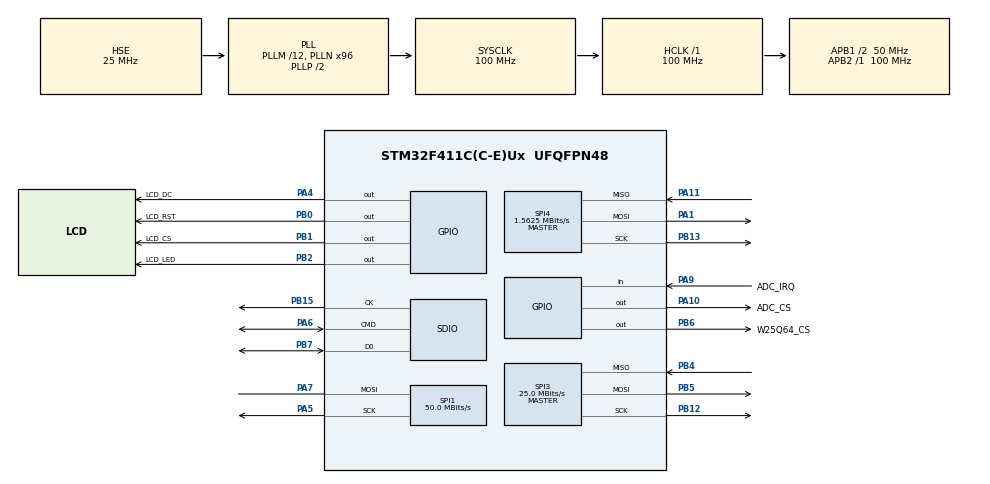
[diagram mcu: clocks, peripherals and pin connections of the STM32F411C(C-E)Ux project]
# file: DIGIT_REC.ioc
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Dma.Request0=SPI1_TX
Dma.Request1=SDIO_RX
Dma.Request2=SDIO_TX
Dma.SDIO_RX.1.Direction=DMA_PERIPH_TO_MEMORY
Dma.SDIO_RX.1.FIFOMode=DMA_FIFOMODE_ENABLE
Dma.SDIO_RX.1.FIFOThreshold=DMA_FIFO_THRESHOLD_FULL
Dma.SDIO_RX.1.Instance=DMA2_Stream3
Dma.SDIO_RX.1.MemBurst=DMA_MBURST_INC4
Dma.SDIO_RX.1.MemDataAlignment=DMA_MDATAALIGN_WORD
Dma.SDIO_RX.1.MemInc=DMA_MINC_ENABLE
Dma.SDIO_RX.1.Mode=DMA_PFCTRL
Dma.SDIO_RX.1.PeriphBurst=DMA_PBURST_INC4
Dma.SDIO_RX.1.PeriphDataAlignment=DMA_PDATAALIGN_WORD
Dma.SDIO_RX.1.PeriphInc=DMA_PINC_DISABLE
Dma.SDIO_RX.1.Priority=DMA_PRIORITY_LOW
Dma.SDIO_TX.2.Direction=DMA_MEMORY_TO_PERIPH
Dma.SDIO_TX.2.FIFOMode=DMA_FIFOMODE_ENABLE
Dma.SDIO_TX.2.FIFOThreshold=DMA_FIFO_THRESHOLD_FULL
Dma.SDIO_TX.2.Instance=DMA2_Stream6
Dma.SDIO_TX.2.MemBurst=DMA_MBURST_INC4
Dma.SDIO_TX.2.MemDataAlignment=DMA_MDATAALIGN_WORD
Dma.SDIO_TX.2.MemInc=DMA_MINC_ENABLE
Dma.SDIO_TX.2.Mode=DMA_PFCTRL
Dma.SDIO_TX.2.PeriphBurst=DMA_PBURST_INC4
Dma.SDIO_TX.2.PeriphDataAlignment=DMA_PDATAALIGN_WORD
Dma.SDIO_TX.2.PeriphInc=DMA_PINC_DISABLE
Dma.SDIO_TX.2.Priority=DMA_PRIORITY_LOW
Dma.SPI1_TX.0.Direction=DMA_MEMORY_TO_PERIPH
Dma.SPI1_TX.0.FIFOMode=DMA_FIFOMODE_DISABLE
Dma.SPI1_TX.0.Instance=DMA2_Stream2
Dma.SPI1_TX.0.MemDataAlignment=DMA_MDATAALIGN_BYTE
Dma.SPI1_TX.0.MemInc=DMA_MINC_ENABLE
Dma.SPI1_TX.0.Mode=DMA_NORMAL
Dma.SPI1_TX.0.PeriphDataAlignment=DMA_PDATAALIGN_BYTE
Dma.SPI1_TX.0.PeriphInc=DMA_PINC_DISABLE
Dma.SPI1_TX.0.Priority=DMA_PRIORITY_LOW
FATFS.USE_DMA_CODE_SD=1
FATFS._MAX_SS=4096
Mcu.Family=STM32F4
Mcu.Name=STM32F411C(C-E)Ux
Mcu.Package=UFQFPN48
NVIC.DMA2_Stream2_IRQn=true\:0\:0\:false\:false\:true\:false\:true\:true
NVIC.DMA2_Stream3_IRQn=true\:0\:0\:false\:false\:true\:false\:true\:true
NVIC.DMA2_Stream6_IRQn=true\:0\:0\:false\:false\:true\:false\:true\:true
NVIC.PriorityGroup=NVIC_PRIORITYGROUP_4
NVIC.SDIO_IRQn=true\:0\:0\:false\:false\:true\:true\:true\:true
PA1.Mode=Full_Duplex_Master
PA1.Signal=SPI4_MOSI
PA10.GPIO_Label=ADC_CS
PA10.Signal=GPIO_Output
PA11.Mode=Full_Duplex_Master
PA11.Signal=SPI4_MISO
PA4.GPIO_Label=LCD_DC
PA4.Signal=GPIO_Output
PA5.Mode=Simplex_Bidirectional_Master
PA5.Signal=SPI1_SCK
PA6.Mode=SD_1_bit
PA6.Signal=SDIO_CMD
PA7.Mode=Simplex_Bidirectional_Master
PA7.Signal=SPI1_MOSI
PA9.GPIO_Label=ADC_IRQ
PA9.Signal=GPIO_Input
PB0.GPIO_Label=LCD_RST
PB0.Signal=GPIO_Output
PB1.GPIO_Label=LCD_CS
PB1.Signal=GPIO_Output
PB12.Mode=Full_Duplex_Master
PB12.Signal=SPI3_SCK
PB13.Mode=Full_Duplex_Master
PB13.Signal=SPI4_SCK
PB15.Mode=SD_1_bit
PB15.Signal=SDIO_CK
PB2.GPIO_Label=LCD_LED
PB2.PinState=GPIO_PIN_SET
PB2.Signal=GPIO_Output
PB4.Mode=Full_Duplex_Master
PB4.Signal=SPI3_MISO
PB5.Mode=Full_Duplex_Master
PB5.Signal=SPI3_MOSI
PB6.GPIO_Label=W25Q64_CS
PB6.Signal=GPIO_Output
PB7.Mode=SD_1_bit
PB7.Signal=SDIO_D0
PH0\ -\ OSC_IN.Mode=HSE-External-Oscillator
PH0\ -\ OSC_IN.Signal=RCC_OSC_IN
PH1\ -\ OSC_OUT.Mode=HSE-External-Oscillator
PH1\ -\ OSC_OUT.Signal=RCC_OSC_OUT
ProjectManager.HeapSize=0x200
ProjectManager.StackSize=0x400
ProjectManager.TargetToolchain=STM32CubeIDE
RCC.48MHZClocksFreq_Value=40000000
RCC.AHBFreq_Value=100000000
RCC.APB1CLKDivider=RCC_HCLK_DIV2
RCC.APB1Freq_Value=50000000
RCC.APB1TimFreq_Value=100000000
RCC.APB2Freq_Value=100000000
RCC.APB2TimFreq_Value=100000000
RCC.CortexFreq_Value=100000000
RCC.HCLKFreq_Value=100000000
RCC.HSE_VALUE=25000000
RCC.HSI_VALUE=16000000
RCC.LSE_VALUE=32768
RCC.PLLM=12
RCC.PLLN=96
RCC.PLLQ=5
RCC.PLLSourceVirtual=RCC_PLLSOURCE_HSE
RCC.SYSCLKFreq_VALUE=100000000
RCC.SYSCLKSource=RCC_SYSCLKSOURCE_PLLCLK
RCC.VCOOutputFreq_Value=200000000
SDIO.ClockDiv=5
SPI1.BaudRatePrescaler=SPI_BAUDRATEPRESCALER_2
SPI1.CalculateBaudRate=50.0 MBits/s
SPI1.Direction=SPI_DIRECTION_1LINE
SPI1.Mode=SPI_MODE_MASTER
SPI1.VirtualType=VM_MASTER
SPI3.CalculateBaudRate=25.0 MBits/s
SPI3.Direction=SPI_DIRECTION_2LINES
SPI3.Mode=SPI_MODE_MASTER
SPI3.VirtualType=VM_MASTER
SPI4.BaudRatePrescaler=SPI_BAUDRATEPRESCALER_64
SPI4.CalculateBaudRate=1.5625 MBits/s
SPI4.Direction=SPI_DIRECTION_2LINES
SPI4.Mode=SPI_MODE_MASTER
SPI4.VirtualType=VM_MASTER
TIM2.Prescaler=9999
VP_FATFS_VS_SDIO.Mode=SDIO
VP_TIM2_VS_ClockSourceINT.Mode=Internal
board=custom

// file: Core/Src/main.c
/* USER CODE BEGIN Header */
/**
  ******************************************************************************
  * @file           : main.c
  * @brief          : Main program body
  * @authors        : Dawid Gurdzinski , Lukasz Slowik
  * @Project        : Rozpoznawanie pisma naturalnego/cyfr
  * @Description    : Na ekranie dotykowym bedzie możliwość napisania/narysowania
  * 				  cyfry w zakresie od 0-9 gdzie nastpenie popezez model sieci
  * 				  neuronowej wgranej na moduł pamięci W25Q64 zostanie zklasyfikowana
  * 				  cyfra gdzie na ekranie wyświetlon
  ******************************************************************************
  * @attention
  *
  * Copyright (c) 2023 STMicroelectronics.
  * All rights reserved.
  *
  * This software is licensed under terms that can be found in the LICENSE file
  * in the root directory of this software component.
  * If no LICENSE file comes with this software, it is provided AS-IS.
  *
  ******************************************************************************
  */
/* USER CODE END Header */
#include "main.h"
#include "dma.h"
#include "fatfs.h"
#include "sdio.h"
#include "spi.h"
#include "tim.h"
#include "gpio.h"

/* USER CODE BEGIN Includes */
#include <string.h>
#include "ST7789V.h"
#include "ST7789V_GFX.h"
#include "XPT2046.h"
#include "matrix.h"
#include "menu.h"
#include "W25Q64Drv.h"
#include "SDDrv.h"
#include "DataConversion.h"
#include "NeuralNetwork.h"
#include "ForwardPass.h"
/* USER CODE END Includes */

/* USER CODE BEGIN PD */
#define SD_PROBLEM
/* USER CODE END PD */

/* USER CODE BEGIN PV */

//struktury
ChunkMatrix DataStruct;
ST7789V ST7789VDrv;
MEMORY w25q64;
SD_Iterface SDcard;
Linear layer1,layer2,layer3;
NET DNN;
NET_INFO net_info;
ForwardPass SI_algorithm;

//zmienne
uint8_t buff[784];
uint16_t PosX,PosY;
volatile uint8_t forwardpropagation=0;
double INPUT[784];

/* USER CODE END PV */

void SystemClock_Config(void);

int main(void)
{

  /* MCU Configuration--------------------------------------------------------*/

  /* Reset of all peripherals, Initializes the Flash interface and the Systick. */
  HAL_Init();

  /* Configure the system clock */
  SystemClock_Config();

  /* Initialize all configured peripherals */
  MX_GPIO_Init();
  MX_DMA_Init();
  MX_SPI1_Init();
  MX_SPI3_Init();
  MX_SPI4_Init();
  MX_TIM2_Init();
  MX_SDIO_SD_Init();
  MX_FATFS_Init();
  /* USER CODE BEGIN 2 */
  //inicjalizacja timera do odliczania czasu
  HAL_TIM_Base_Start(&htim2);//1cnt =100 us
  //inicjalizacja ekranu
  ST7789V_Init(&ST7789VDrv);
  //inicjalizacja struktury z pamiecia zawierajaca wartosci obaszrów 28x28
  DataStruct=CreateChunkMatrix(buff);
  //inicjalizacja pamieci
  W25Q64_Init(&w25q64);
  //odswiezenie/wyswietlenie menu na ekranie
  RefreshMenu(&ST7789VDrv, &DataStruct);

   ///////////////////////////////////////////////////////////////////
#ifdef SD_PROBLEM
//wgrywanie danych z karty sd nie ma
	uint8_t pagebuff[256];
	uint8_t testarr2[8];
	SplitDouble(0.012, testarr2);

	for(uint8_t i=0;i<32;i++){
		pagebuff[i*8]=testarr2[0];
		pagebuff[i*8+1]=testarr2[1];
		pagebuff[i*8+2]=testarr2[2];
		pagebuff[i*8+3]=testarr2[3];
		pagebuff[i*8+4]=testarr2[4];
		pagebuff[i*8+5]=testarr2[5];
		pagebuff[i*8+6]=testarr2[6];
		pagebuff[i*8+7]=testarr2[7];

	}

#endif
///////////////////////////////////////////////////////////////////

	//wczytywanie oraz czyszczenie pamieci
	uint8_t program_memeory =0;
	if(program_memeory){
		//czyszczenie pamieci wraz z paskem postepu (warto bo czyszczenie trawa okolo 5 minut)
		Print_Info_MEM_CL(&ST7789VDrv);
		for(uint32_t i=0;i<2638;i++){
			W25Q64_SectorErase(&w25q64,i);
			Print_Proc_10(&ST7789VDrv, i/200);
		}
		Print_Info_MEM_WR(&ST7789VDrv);
		for(uint32_t i=0;i<42203;i++){
		//wczytywnaie danych do pamieci wraz z paskem postepu
			W25Q64_PageProgram(&w25q64,W25Q64_PAGE_SIZE*i, pagebuff, 256);
			Print_Proc_10(&ST7789VDrv, i/3200);
		}
	}
	//odswiezamy menu
	RefreshMenu(&ST7789VDrv, &DataStruct);
	//inicjalizujemy siec neuronowa
	INIT_NETINFO(&net_info);
	Init_Net(&DNN, &layer1, &layer2, &layer3);
	Init_ForwardPass(&SI_algorithm, &DNN, &net_info,&w25q64);

  /* USER CODE END 2 */

  /* Infinite loop */
  /* USER CODE BEGIN WHILE */
  while (1)
  {		//XPT2046 Pooluje dane  adc wykonuje funckje loop jka kordynaty sie mieniły
	  if(XPT2046_TouchGetCoordinates(&PosX,&PosY)){
		  forwardpropagation=LoopScreen(&ST7789VDrv, &DataStruct, PosX, PosY);
		  if(forwardpropagation){
			  //odwrocenie tablicy
			  Invert_Array(buff, 784);
			  Print_Info_Calc(&ST7789VDrv);
			  //obliczanie sieci
			  //rysyowane prostokaty imituja pasek ladowania
			  FP_Load_Input(&SI_algorithm, buff);
			  ST7789V_DrawRect(&ST7789VDrv, 40, 210, 80 ,250, RED);
			  FP_Forward_PassFirstLayer(&SI_algorithm);
			  ST7789V_DrawRect(&ST7789VDrv, 100, 210, 140 ,250, RED);
			  FP_Forward_PassSecondLayer(&SI_algorithm);
			  ST7789V_DrawRect(&ST7789VDrv, 160, 210, 200 ,250, RED);
			  FP_Forward_PassThirdLayer(&SI_algorithm);
			  uint8_t result =FP_Retrun_Result(&SI_algorithm);
			  //wyswietlenie wyniku
			  Print_Result(&ST7789VDrv, result);
		  }

	 	}
    /* USER CODE END WHILE */

  }
}

void SystemClock_Config(void)
{
  RCC_OscInitTypeDef RCC_OscInitStruct = {0};
  RCC_ClkInitTypeDef RCC_ClkInitStruct = {0};

  /** Configure the main internal regulator output voltage
  */
  __HAL_RCC_PWR_CLK_ENABLE();
  __HAL_PWR_VOLTAGESCALING_CONFIG(PWR_REGULATOR_VOLTAGE_SCALE1);

  /** Initializes the RCC Oscillators according to the specified parameters
  * in the RCC_OscInitTypeDef structure.
  */
  RCC_OscInitStruct.OscillatorType = RCC_OSCILLATORTYPE_HSE;
  RCC_OscInitStruct.HSEState = RCC_HSE_ON;
  RCC_OscInitStruct.PLL.PLLState = RCC_PLL_ON;
  RCC_OscInitStruct.PLL.PLLSource = RCC_PLLSOURCE_HSE;
  RCC_OscInitStruct.PLL.PLLM = 12;
  RCC_OscInitStruct.PLL.PLLN = 96;
  RCC_OscInitStruct.PLL.PLLP = RCC_PLLP_DIV2;
  RCC_OscInitStruct.PLL.PLLQ = 5;
  if (HAL_RCC_OscConfig(&RCC_OscInitStruct) != HAL_OK)
  {
    Error_Handler();
  }

  /** Initializes the CPU, AHB and APB buses clocks
  */
  RCC_ClkInitStruct.ClockType = RCC_CLOCKTYPE_HCLK|RCC_CLOCKTYPE_SYSCLK
                              |RCC_CLOCKTYPE_PCLK1|RCC_CLOCKTYPE_PCLK2;
  RCC_ClkInitStruct.SYSCLKSource = RCC_SYSCLKSOURCE_PLLCLK;
  RCC_ClkInitStruct.AHBCLKDivider = RCC_SYSCLK_DIV1;
  RCC_ClkInitStruct.APB1CLKDivider = RCC_HCLK_DIV2;
  RCC_ClkInitStruct.APB2CLKDivider = RCC_HCLK_DIV1;

  if (HAL_RCC_ClockConfig(&RCC_ClkInitStruct, FLASH_LATENCY_3) != HAL_OK)
  {
    Error_Handler();
  }
}

void Error_Handler(void)
{
  __disable_irq();
  while (1)
  {
  }
}
